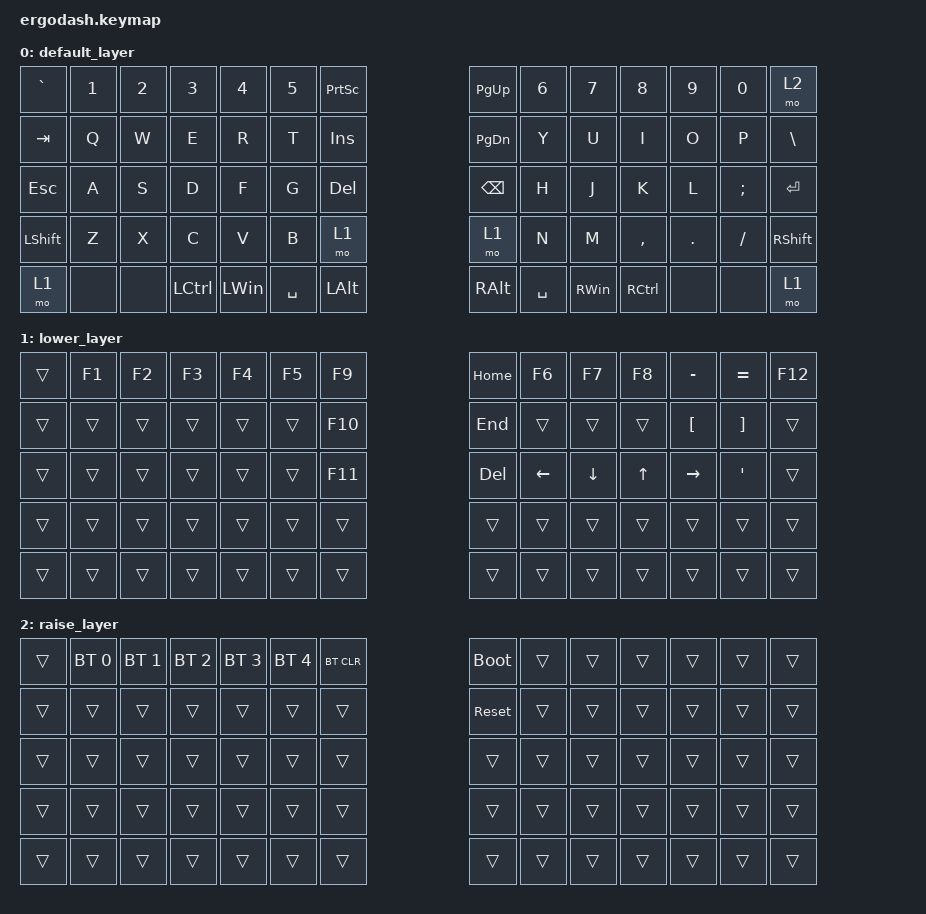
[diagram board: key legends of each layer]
/*
 * Copyright (c) 2020 The ZMK Contributors
 *
 * SPDX-License-Identifier: MIT
 */

#include <behaviors.dtsi>
#include <dt-bindings/zmk/bt.h>
#include <dt-bindings/zmk/keys.h>

#define DEFAULT 0
#define LOWER   1
#define RAISE   2

/ {
    keymap {
        compatible = "zmk,keymap";

        default_layer {
            /* QWERTY
 * .----------------------------------------------------------------------------------------------------------------------.
 * |  `   |   1  |   2  |   3  |   4  |   5  | Ins  |                    | PgUp |   6  |   7  |   8  |   9  |   0  | Raise|
 * |------+------+------+------+------+------+------+--------------------+------+------+------+------+------+------+------|
 * | Tab  |   Q  |   W  |   E  |   R  |   T  |PrtScr|                    | PgDn |   Y  |   U  |   I  |   O  |   P  |  \   |
 * |------+------+------+------+------+------+------+--------------------+------+------+------+------+------+------+------|
 * | ESC  |   A  |   S  |   D  |   F  |   G  | Del  |                    | Bksp |   H  |   J  |   K  |   L  |   ;  | Enter|
 * |------+------+------+------+------+------+---------------------------+------+------+------+------+------+------+------|
 * | Shift|   Z  |   X  |   C  |   V  |   B  | End  |                    | RAlt |   N  |   M  |   ,  |   .  |   /  | Shift|
 * |-------------+------+------+------+------+------+------+------+------+------+------+------+------+------+-------------|
 * | Ctrl |      |      | Alt  |||||||| Lower| Space| Win  |||||||| Win  | Space| Lower|||||||| Left | Down |  Up  | Right|
 * .----------------------------------------------------------------------------------------------------------------------.
 */

            bindings = <
&kp GRAVE   &kp N1  &kp N2  &kp N3     &kp N4        &kp N5  &kp PRINTSCREEN                               &kp PG_UP      &kp N6  &kp N7         &kp N8             &kp N9   &kp N0     &mo 2
&kp TAB     &kp Q   &kp W   &kp E      &kp R         &kp T   &kp INS                                       &kp PAGE_DOWN  &kp Y   &kp U          &kp I              &kp O    &kp P      &kp BSLH
&kp ESCAPE  &kp A   &kp S   &kp D      &kp F         &kp G   &kp DEL                                       &kp BACKSPACE  &kp H   &kp J          &kp K              &kp L    &kp SEMI   &kp ENTER
&kp LSHFT   &kp Z   &kp X   &kp C      &kp V         &kp B                    &mo 1         &mo 1                         &kp N   &kp M          &kp COMMA          &kp DOT  &kp SLASH  &kp RSHFT
&mo 1       &none   &none   &kp LCTRL  &kp LEFT_WIN          &kp SPACE        &kp LEFT_ALT  &kp RIGHT_ALT  &kp SPACE              &kp RIGHT_WIN  &kp RIGHT_CONTROL  &none    &none      &mo 1
            >;
        };

        lower_layer {
            /* .----------------------------------------------------------------------------------------------------------------------.
 * |      |  F1  |  F2  |  F3  |  F4  |  F5  |  F9  |                    | Home |  F6  |  F7  |  F8  |   -  |   =  |  F12 |
 * |------+------+------+------+------+------+------+--------------------+------+------+------+------+------+------+------|
 * |      |      |      |      |      |      |  F10 |                    |  End |      |      |      |   [  |   ]  |      |
 * |------+------+------+------+------+------+------+--------------------+------+------+------+------+------+------+------|
 * |      |      |      |      |      |      |  F11 |                    |      | Left | Down |  Up  | Right|   '  |      |
 * |------+------+------+------+------+------+---------------------------+------+------+------+------+------+------+------|
 * |      |      |      |      |      |      |      |                    |      |      |      |      |      |      |      |
 * |-------------+------+------+------+------+------+------+------+------+------+------+------+------+------+-------------|
 * |      |      |      |      ||||||||      |      |      ||||||||      |      |      ||||||||      |      |      |      |
 * .----------------------------------------------------------------------------------------------------------------------.
 */ /* FIXME boot and reset are not yet locale aware */
            bindings = <
&trans  &kp F1  &kp F2  &kp F3  &kp F4  &kp F5  &kp F9                   &kp HOME  &kp F6    &kp F7    &kp F8        &kp MINUS         &kp EQUAL          &kp F12
&trans  &trans  &trans  &trans  &trans  &trans  &kp F10                  &kp END   &trans    &trans    &trans        &kp LEFT_BRACKET  &kp RIGHT_BRACKET  &trans
&trans  &trans  &trans  &trans  &trans  &trans  &kp F11                  &kp DEL   &kp LEFT  &kp DOWN  &kp UP_ARROW  &kp RIGHT         &kp SQT            &trans
&trans  &trans  &trans  &trans  &trans  &trans           &trans  &trans            &trans    &trans    &trans        &trans            &trans             &trans
&trans  &trans  &trans  &trans  &trans          &trans   &trans  &trans  &trans              &trans    &trans        &trans            &trans             &trans
            >;
        };

        raise_layer {
            bindings = <
&trans  &bt BT_SEL 0  &bt BT_SEL 1  &bt BT_SEL 2  &bt BT_SEL 3  &bt BT_SEL 4  &bt BT_CLR                  &bootloader  &trans  &trans  &trans  &trans  &trans  &trans
&trans  &trans        &trans        &trans        &trans        &trans        &trans                      &sys_reset   &trans  &trans  &trans  &trans  &trans  &trans
&trans  &trans        &trans        &trans        &trans        &trans        &trans                      &trans       &trans  &trans  &trans  &trans  &trans  &trans
&trans  &trans        &trans        &trans        &trans        &trans                    &trans  &trans               &trans  &trans  &trans  &trans  &trans  &trans
&trans  &trans        &trans        &trans        &trans                      &trans      &trans  &trans  &trans               &trans  &trans  &trans  &trans  &trans
            >;
        };
    };
};
